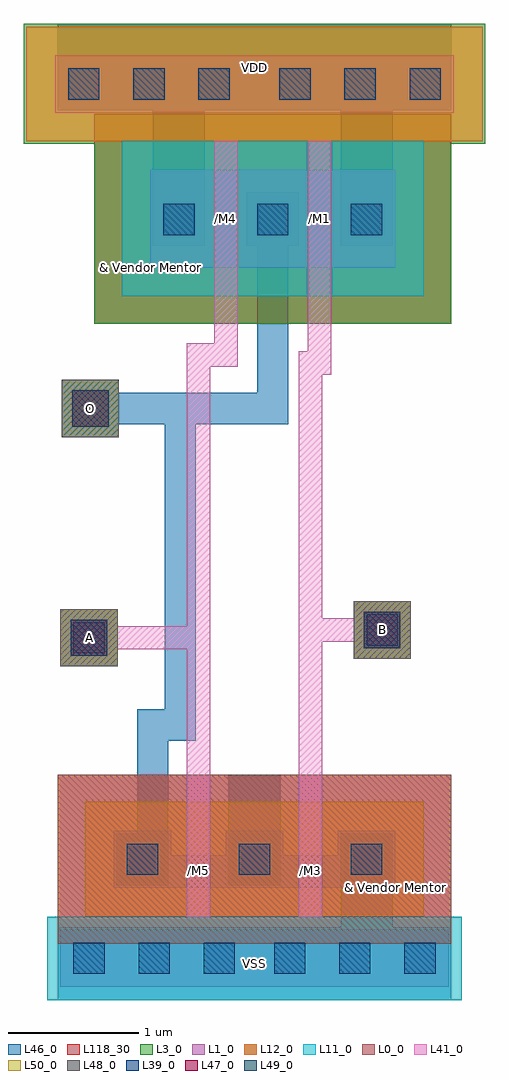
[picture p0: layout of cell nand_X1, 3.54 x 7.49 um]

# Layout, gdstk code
import gdstk
lib = gdstk.Library(unit=1e-6, precision=1e-09)
def R(c, l, rs):  # rectangles x0, y0, x1, y1
    for r in rs: c.add(gdstk.rectangle(r[:2], r[2:], *l))
def A(c, l, x, y, w, h, nx, ny, dx, dy):  # array of equal rectangles
    R(c, l, [(x+i*dx, y+j*dy, x+i*dx+w, y+j*dy+h) for i in range(nx) for j in range(ny)])
def P(c, l, *ps):  # polygons
    for p in ps: c.add(gdstk.Polygon(p, *l))
L0_0 = (0, 0)
L1_0 = (1, 0)
L3_0 = (3, 0)
L11_0 = (11, 0)
L12_0 = (12, 0)
L39_0 = (39, 0)
L41_0 = (41, 0)
L46_0 = (46, 0)
L47_0 = (47, 0)
L48_0 = (48, 0)
L49_0 = (49, 0)
L50_0 = (50, 0)
L118_30 = (118, 30)

mpoly = lib.new_cell('MPOLY')
R(mpoly, L39_0, [(-0.12,-0.12,0.12,0.12)])
R(mpoly, L41_0, [(-0.22,-0.22,0.22,0.22)])
R(mpoly, L46_0, [(-0.2,-0.2,0.2,0.2)])

m1m2 = lib.new_cell('M1M2')
R(m1m2, L46_0, [(-0.22,-0.22,0.22,0.22)])
R(m1m2, L47_0, [(-0.14,-0.14,0.14,0.14)])
R(m1m2, L48_0, [(-0.22,-0.22,0.22,0.22)])

m2m3 = lib.new_cell('M2M3')
R(m2m3, L48_0, [(-0.22,-0.22,0.22,0.22)])
R(m2m3, L49_0, [(-0.14,-0.14,0.14,0.14)])
R(m2m3, L50_0, [(-0.22,-0.22,0.22,0.22)])

nand_x1 = lib.new_cell('nand_X1')
R(nand_x1, L0_0, [(-0.59,-3.98,2.43,-2.68)])
R(nand_x1, L1_0, [(-0.57,-4.31,2.41,-3.87), (0.12,1.21,2,1.96), (0.12,1.21,0.61,1.96), (1.51,1.21,2,1.96), (-0.61,2.4,2.45,2.84)])
P(nand_x1, L1_0, [(-0.16,-3.55),(-0.16,-3.11),(0.28,-3.11),(0.28,-3.3),(0.7,-3.3),(0.7,-3.11),(1.14,-3.11),(1.14,-3.3),(1.56,-3.3),(1.56,-3.11),(2,-3.11),(2,-3.55)],
  [(-0.16,-3.55),(-0.16,-3.11),(0.28,-3.11),(0.28,-3.3),(0.4,-3.3),(0.4,-3.55)],
  [(1.44,-3.55),(1.44,-3.3),(1.56,-3.3),(1.56,-3.11),(2,-3.11),(2,-3.55)])
R(nand_x1, L3_0, [(-0.31,0.78,2.43,2.39), (-0.85,2.16,2.69,3.08)])
R(nand_x1, L11_0, [(-0.67,-4.41,2.51,-3.77), (-0.1,0.99,2.22,2.18)])
R(nand_x1, L12_0, [(-0.38,-3.77,2.22,-2.89), (-0.83,2.18,2.67,3.06)])
A(nand_x1, L39_0, -0.47, -4.21, 0.24, 0.24, 3, 1, 0.5, 0)
A(nand_x1, L39_0, 1.07, -4.21, 0.24, 0.24, 3, 1, 0.5, 0)
A(nand_x1, L39_0, -0.06, -3.45, 0.24, 0.24, 3, 1, 0.86, 0)
A(nand_x1, L39_0, 0.22, 1.46, 0.24, 0.24, 3, 1, 0.72, 0)
A(nand_x1, L39_0, -0.51, 2.5, 0.24, 0.24, 3, 1, 0.5, 0)
A(nand_x1, L39_0, 1.11, 2.5, 0.24, 0.24, 3, 1, 0.5, 0)
R(nand_x1, L41_0, [(0.4,-3.77,0.58,-3.55), (1.26,-3.77,1.44,-3.55), (0.4,-3.55,0.58,-3.3), (1.26,-3.55,1.44,-3.3), (0.4,-3.3,0.58,-3.08), (1.26,-3.3,1.44,-3.08), (0.4,-3.26,0.58,-1.54), (1.26,-3.26,1.44,-1.48), (-0.46,-1.72,0.58,-1.54), (1.26,-1.66,1.99,-1.48), (0.61,0.99,0.79,1.21), (1.33,0.99,1.51,1.21), (0.61,1.21,0.79,1.96), (1.33,1.21,1.51,1.96), (0.61,1.96,0.79,2.18), (1.33,1.96,1.51,2.18)])
P(nand_x1, L41_0, [(1.26,-1.66),(1.44,-1.66),(1.44,0.39),(1.51,0.39),(1.51,1.17),(1.33,1.17),(1.33,0.57),(1.26,0.57)],
  [(0.4,-1.72),(0.58,-1.72),(0.58,0.45),(0.79,0.45),(0.79,1.17),(0.61,1.17),(0.61,0.63),(0.4,0.63)])
A(nand_x1, L46_0, -0.14, -3.53, 0.4, 0.4, 3, 1, 0.86, 0)
A(nand_x1, L46_0, 0.14, 1.38, 0.4, 0.41, 3, 1, 0.72, 0)
R(nand_x1, L46_0, [(-0.59,-4.41,2.43,-3.85), (-0.59,-4.33,2.43,-3.85), (1.58,-4.25,1.98,-3.13), (0.72,-3.53,1.12,-2.68), (-0.48,0.01,0.1,0.25), (-0.14,0.01,0.47,0.25), (0.14,1.39,0.54,2.82), (1.58,1.39,1.98,2.82), (-0.59,2.42,2.43,2.82), (-0.59,2.42,2.43,3.08)])
P(nand_x1, L46_0, [(0.02,-3.37),(0.26,-3.37),(0.26,-2.42),(0.47,-2.42),(0.47,0.25),(0.23,0.25),(0.23,-2.18),(0.02,-2.18)],
  [(0.23,0.01),(1.18,0.01),(1.18,1.62),(0.94,1.62),(0.94,0.25),(0.23,0.25)])
R(nand_x1, L50_0, [(-0.57,-1.85,-0.13,-1.41), (1.68,-1.79,2.12,-1.35), (-0.56,-0.09,-0.12,0.35)])
R(nand_x1, L118_30, [(-0.59,-3.98,2.43,-2.68), (-0.31,0.78,2.43,2.39)])
nand_x1.add(gdstk.Reference(mpoly, (-0.35,-1.63)))
nand_x1.add(gdstk.Reference(m1m2, (-0.35,-1.63)))
nand_x1.add(gdstk.Reference(mpoly, (1.9,-1.57)))
nand_x1.add(gdstk.Reference(m1m2, (1.9,-1.57)))
nand_x1.add(gdstk.Reference(m2m3, (1.9,-1.57)))
nand_x1.add(gdstk.Reference(m2m3, (-0.35,-1.63)))
nand_x1.add(gdstk.Reference(m1m2, (-0.34,0.13)))
nand_x1.add(gdstk.Reference(m2m3, (-0.34,0.13)))
nand_x1.add(gdstk.Label('/M3', (1.35,-3.42), layer=85, texttype=0))
nand_x1.add(gdstk.Label('/M5', (0.49,-3.42), layer=85, texttype=0))
nand_x1.add(gdstk.Label('& Vendor Mentor', (2,-3.55), layer=63, texttype=63))
nand_x1.add(gdstk.Label('& Product UMC180FDKMFM', (2,-3.55), layer=63, texttype=63))
nand_x1.add(gdstk.Label('& Version A01', (2,-3.55), layer=63, texttype=63))
nand_x1.add(gdstk.Label('& Metric 0', (2,-3.55), layer=63, texttype=63))
nand_x1.add(gdstk.Label('& _PublicCode', (2,-3.55), layer=63, texttype=63))
nand_x1.add(gdstk.Label('/M4', (0.7,1.59), layer=85, texttype=0))
nand_x1.add(gdstk.Label('/M1', (1.42,1.59), layer=85, texttype=0))
nand_x1.add(gdstk.Label('& Vendor Mentor', (0.12,1.21), layer=63, texttype=63))
nand_x1.add(gdstk.Label('& Product UMC180FDKMFM', (0.12,1.21), layer=63, texttype=63))
nand_x1.add(gdstk.Label('& Version A01', (0.12,1.21), layer=63, texttype=63))
nand_x1.add(gdstk.Label('& Metric 0', (0.12,1.21), layer=63, texttype=63))
nand_x1.add(gdstk.Label('& _PublicCode', (0.12,1.21), layer=63, texttype=63))
nand_x1.add(gdstk.Label('B', (1.9,-1.57), layer=103, texttype=0))
nand_x1.add(gdstk.Label('A', (-0.35,-1.63), layer=103, texttype=0))
nand_x1.add(gdstk.Label('O', (-0.34,0.13), layer=103, texttype=0))
nand_x1.add(gdstk.Label('VSS', (0.92,-4.13), layer=101, texttype=0))
nand_x1.add(gdstk.Label('VDD', (0.92,2.75), layer=101, texttype=0))

lib.write_gds('nand_X1.gds')
